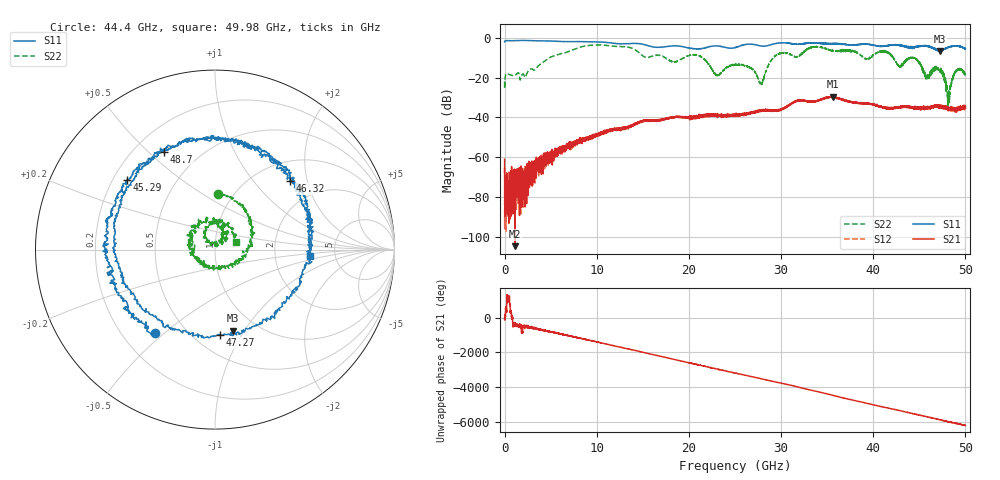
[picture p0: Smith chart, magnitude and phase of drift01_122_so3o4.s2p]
!Created with skrf (http://scikit-rf.org).
# Hz S RI R 50.0
!freq ReS11 ImS11 ReS21 ImS21 ReS12 ImS12 ReS22 ImS22
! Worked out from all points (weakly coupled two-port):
!   10001 points, 300 kHz to 50 GHz, reference 50 ohm
!   highest |S21| = -29.50 dB at 35.58 GHz (marker M1); lowest = -104.6 dB at 1.11 GHz (marker M2)
!   lowest |S11| = -6.7 dB at 47.22 GHz (marker M3), VSWR 2.72, Z = 38.8 - j44.5 ohm
!   |S11| at or under -10 dB: nowhere
!   |S22| runs from -34.2 to -3.6 dB; largest |S21 - S12| = 0.0045
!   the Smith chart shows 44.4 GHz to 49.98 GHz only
!   S11 on the Smith chart (normalised r, x): 44.4 GHz: 0.34, -0.47; 45.29 GHz: 0.26, +0.33; 46.32 GHz: 1.40, +1.57; 47.27 GHz: 0.66, -0.81; 48.7 GHz: 0.32, +0.56; 49.98 GHz: 3.21, -0.33
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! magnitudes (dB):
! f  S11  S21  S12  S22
! 300 kHz  -2.1  -61.0  -65.2  -21.9
! 255.3 MHz  -1.4  -77.7  -83.9  -18.0
! 1.11 GHz  -1.4  -104.6  -68.6  -18.9
! 8.335 GHz  -1.9  -51.0  -51.2  -4.5
! 16.67 GHz  -4.8  -41.3  -41.5  -8.7
! 20.97 GHz  -5.6  -39.8  -39.7  -8.8
! 23.08 GHz  -4.1  -40.1  -39.1  -18.7
! 25 GHz  -5.0  -38.8  -38.8  -13.7
! 27.85 GHz  -4.2  -36.3  -36.5  -23.0
! 29.47 GHz  -2.8  -36.6  -36.9  -8.8
! 33.34 GHz  -2.6  -32.1  -32.2  -4.8
! 35.58 GHz  -2.9  -29.5  -29.7  -6.4
! 41.67 GHz  -3.8  -35.6  -35.3  -7.8
! 44.4 GHz  -4.8  -35.0  -35.1  -10.1
! 45.29 GHz  -4.1  -35.4  -35.3  -14.8
! 46.32 GHz  -5.0  -35.0  -35.1  -16.8
! 47.22 GHz  -6.7  -35.0  -34.4  -16.9
! 47.27 GHz  -6.5  -34.3  -34.5  -16.3
! 48.14 GHz  -4.8  -35.4  -35.6  -30.1
! 48.7 GHz  -4.2  -35.8  -35.9  -19.1
! 49.98 GHz  -5.5  -35.1  -34.6  -18.2
! 50 GHz  -5.4  -35.2  -34.4  -18.4
